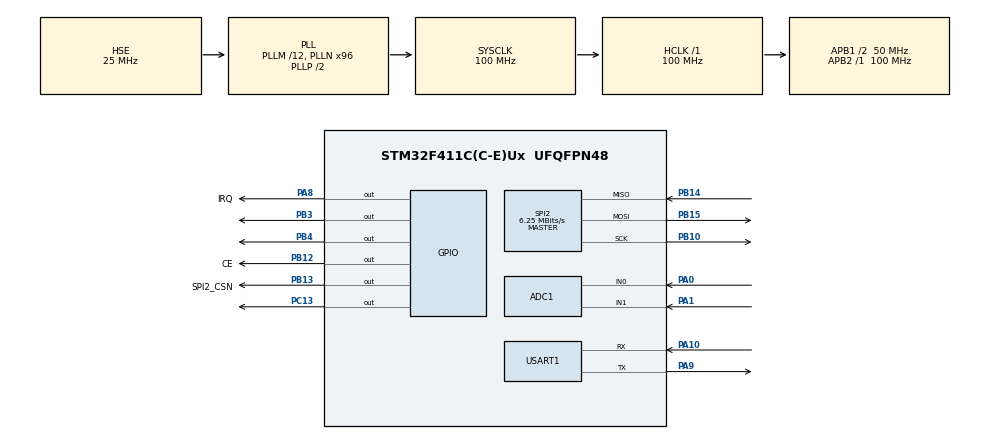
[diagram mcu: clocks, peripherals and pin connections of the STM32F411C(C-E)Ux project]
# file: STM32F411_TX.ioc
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ADC1.Channel-0\#ChannelRegularConversion=ADC_CHANNEL_0
ADC1.Channel-1\#ChannelRegularConversion=ADC_CHANNEL_1
ADC1.ContinuousConvMode=DISABLE
ADC1.DiscontinuousConvMode=ENABLE
ADC1.NbrOfConversion=2
ADC1.NbrOfConversionFlag=1
ADC1.Rank-0\#ChannelRegularConversion=1
ADC1.Rank-1\#ChannelRegularConversion=2
ADC1.SamplingTime-0\#ChannelRegularConversion=ADC_SAMPLETIME_28CYCLES
ADC1.SamplingTime-1\#ChannelRegularConversion=ADC_SAMPLETIME_84CYCLES
ADC1.master=1
Mcu.Family=STM32F4
Mcu.Name=STM32F411C(C-E)Ux
Mcu.Package=UFQFPN48
NVIC.PriorityGroup=NVIC_PRIORITYGROUP_4
PA0-WKUP.Signal=ADCx_IN0
PA1.Signal=ADCx_IN1
PA10.Mode=Asynchronous
PA10.Signal=USART1_RX
PA13.Mode=Serial_Wire
PA13.Signal=SYS_JTMS-SWDIO
PA14.Mode=Serial_Wire
PA14.Signal=SYS_JTCK-SWCLK
PA8.GPIO_Label=IRQ
PA8.Signal=GPIO_Output
PA9.Mode=Asynchronous
PA9.Signal=USART1_TX
PB10.Mode=Full_Duplex_Master
PB10.Signal=SPI2_SCK
PB12.GPIO_Label=CE
PB12.GPIO_Speed=GPIO_SPEED_FREQ_LOW
PB12.Signal=GPIO_Output
PB13.GPIO_Label=SPI2_CSN
PB13.GPIO_Speed=GPIO_SPEED_FREQ_LOW
PB13.PinState=GPIO_PIN_RESET
PB13.Signal=GPIO_Output
PB14.Mode=Full_Duplex_Master
PB14.Signal=SPI2_MISO
PB15.Mode=Full_Duplex_Master
PB15.Signal=SPI2_MOSI
PB3.Signal=GPIO_Output
PB4.Signal=GPIO_Output
PC13-ANTI_TAMP.GPIO_Speed=GPIO_SPEED_FREQ_LOW
PC13-ANTI_TAMP.PinState=GPIO_PIN_SET
PC13-ANTI_TAMP.Signal=GPIO_Output
PC14-OSC32_IN.Mode=LSE-External-Oscillator
PC14-OSC32_IN.Signal=RCC_OSC32_IN
PC15-OSC32_OUT.Mode=LSE-External-Oscillator
PC15-OSC32_OUT.Signal=RCC_OSC32_OUT
PH0\ -\ OSC_IN.Mode=HSE-External-Oscillator
PH0\ -\ OSC_IN.Signal=RCC_OSC_IN
PH1\ -\ OSC_OUT.Mode=HSE-External-Oscillator
PH1\ -\ OSC_OUT.Signal=RCC_OSC_OUT
ProjectManager.HeapSize=0x200
ProjectManager.StackSize=0x400
ProjectManager.TargetToolchain=STM32CubeIDE
RCC.48MHZClocksFreq_Value=50000000
RCC.AHBFreq_Value=100000000
RCC.APB1CLKDivider=RCC_HCLK_DIV2
RCC.APB1Freq_Value=50000000
RCC.APB1TimFreq_Value=100000000
RCC.APB2Freq_Value=100000000
RCC.APB2TimFreq_Value=100000000
RCC.CortexFreq_Value=100000000
RCC.HCLKFreq_Value=100000000
RCC.HSE_VALUE=25000000
RCC.HSI_VALUE=16000000
RCC.PLLM=12
RCC.PLLN=96
RCC.PLLSourceVirtual=RCC_PLLSOURCE_HSE
RCC.SYSCLKFreq_VALUE=100000000
RCC.SYSCLKSource=RCC_SYSCLKSOURCE_PLLCLK
RCC.VCOOutputFreq_Value=200000000
SH.ADCx_IN0.0=ADC1_IN0,IN0
SH.ADCx_IN1.0=ADC1_IN1,IN1
SPI2.BaudRatePrescaler=SPI_BAUDRATEPRESCALER_8
SPI2.CalculateBaudRate=6.25 MBits/s
SPI2.Direction=SPI_DIRECTION_2LINES
SPI2.Mode=SPI_MODE_MASTER
SPI2.VirtualType=VM_MASTER
USART1.VirtualMode=VM_ASYNC
board=custom

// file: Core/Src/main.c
/* USER CODE BEGIN Header */
/**
  ******************************************************************************
  * @file           : main.c
  * @brief          : Main program body
  ******************************************************************************
  * @attention
  *
  * Copyright (c) 2023 STMicroelectronics.
  * All rights reserved.
  *
  * This software is licensed under terms that can be found in the LICENSE file
  * in the root directory of this software component.
  * If no LICENSE file comes with this software, it is provided AS-IS.
  *
  ******************************************************************************
  */
/* USER CODE END Header */
#include "main.h"
#include "adc.h"
#include "spi.h"
#include "usart.h"
#include "gpio.h"

/* USER CODE BEGIN Includes */
#include "NRF24L01.h"
#include "string.h"
#include <stdio.h>
/* USER CODE END Includes */

/* USER CODE BEGIN PV */
SPI_HandleTypeDef hspi2;

/* USER CODE END PV */

void SystemClock_Config(void);
/* USER CODE BEGIN PFP */
//void HAL_GPIO_EXTI_Callback(uint16_t GPIO_Pin);
/* USER CODE END PFP */

/* USER CODE BEGIN 0 */
uint8_t TxAddress[] = {0xEE,0xDD,0xCC,0xBB,0xAA};
uint8_t TxData[32];

/* USER CODE END 0 */

int main(void)
{
  /* USER CODE BEGIN 1 */
HAL_StatusTypeDef HAL_ADC_Start(ADC_HandleTypeDef* hadc);
HAL_StatusTypeDef HAL_ADC_PollForConversion(ADC_HandleTypeDef* hadc, uint32_t Timeout);
  /* USER CODE END 1 */

  /* MCU Configuration--------------------------------------------------------*/

  /* Reset of all peripherals, Initializes the Flash interface and the Systick. */
  HAL_Init();

  /* Configure the system clock */
  SystemClock_Config();

  /* Initialize all configured peripherals */
  MX_GPIO_Init();
  MX_SPI2_Init();
  MX_USART1_UART_Init();
  MX_ADC1_Init();
  /* USER CODE BEGIN 2 */
  NRF24_Init();
  NRF24_TxMode(TxAddress, 10);
  int button;
  int button2;
  /* USER CODE END 2 */

  /* Infinite loop */
  while (1)
  {

    /* USER CODE BEGIN 3 */
	    HAL_ADC_Start(&hadc1);
	    HAL_ADC_PollForConversion(&hadc1, HAL_MAX_DELAY);
	    TxData[0] = HAL_ADC_GetValue(&hadc1)/27;
	    TxData[1] = HAL_ADC_GetValue(&hadc1)/40;
	    if(HAL_GPIO_ReadPin(GPIOB, GPIO_PIN_3)==1)
	    {
	    	button = 1;
	    	TxData[2] = button;
	    }
	    if(HAL_GPIO_ReadPin(GPIOB, GPIO_PIN_3)==0)
	    {
	    	button = 0;
	    	TxData[2] = button;
	    }

	    if(HAL_GPIO_ReadPin(GPIOB, GPIO_PIN_4)==1)
	    {
	    	button2 = 1;
	    	TxData[3] = button2;
	    }
	    if(HAL_GPIO_ReadPin(GPIOB, GPIO_PIN_4)==0)
	    {
	    	button2 = 0;
	    	TxData[3] = button2;
	    }

	    if (NRF24_Transmit(TxData) == 1)
	    {
	  	 HAL_GPIO_TogglePin(GPIOC, GPIO_PIN_13);
	  	 HAL_Delay(100);
	    }
	      HAL_Delay(10);

  }
  /* USER CODE END 3 */
}

void SystemClock_Config(void)
{
  RCC_OscInitTypeDef RCC_OscInitStruct = {0};
  RCC_ClkInitTypeDef RCC_ClkInitStruct = {0};

  /** Configure the main internal regulator output voltage
  */
  __HAL_RCC_PWR_CLK_ENABLE();
  __HAL_PWR_VOLTAGESCALING_CONFIG(PWR_REGULATOR_VOLTAGE_SCALE1);
  /** Initializes the RCC Oscillators according to the specified parameters
  * in the RCC_OscInitTypeDef structure.
  */
  RCC_OscInitStruct.OscillatorType = RCC_OSCILLATORTYPE_HSE;
  RCC_OscInitStruct.HSEState = RCC_HSE_ON;
  RCC_OscInitStruct.PLL.PLLState = RCC_PLL_ON;
  RCC_OscInitStruct.PLL.PLLSource = RCC_PLLSOURCE_HSE;
  RCC_OscInitStruct.PLL.PLLM = 12;
  RCC_OscInitStruct.PLL.PLLN = 96;
  RCC_OscInitStruct.PLL.PLLP = RCC_PLLP_DIV2;
  RCC_OscInitStruct.PLL.PLLQ = 4;
  if (HAL_RCC_OscConfig(&RCC_OscInitStruct) != HAL_OK)
  {
    Error_Handler();
  }
  /** Initializes the CPU, AHB and APB buses clocks
  */
  RCC_ClkInitStruct.ClockType = RCC_CLOCKTYPE_HCLK|RCC_CLOCKTYPE_SYSCLK
                              |RCC_CLOCKTYPE_PCLK1|RCC_CLOCKTYPE_PCLK2;
  RCC_ClkInitStruct.SYSCLKSource = RCC_SYSCLKSOURCE_PLLCLK;
  RCC_ClkInitStruct.AHBCLKDivider = RCC_SYSCLK_DIV1;
  RCC_ClkInitStruct.APB1CLKDivider = RCC_HCLK_DIV2;
  RCC_ClkInitStruct.APB2CLKDivider = RCC_HCLK_DIV1;

  if (HAL_RCC_ClockConfig(&RCC_ClkInitStruct, FLASH_LATENCY_3) != HAL_OK)
  {
    Error_Handler();
  }
}

void Error_Handler(void)
{
  __disable_irq();
  while (1)
  {
  }
}
